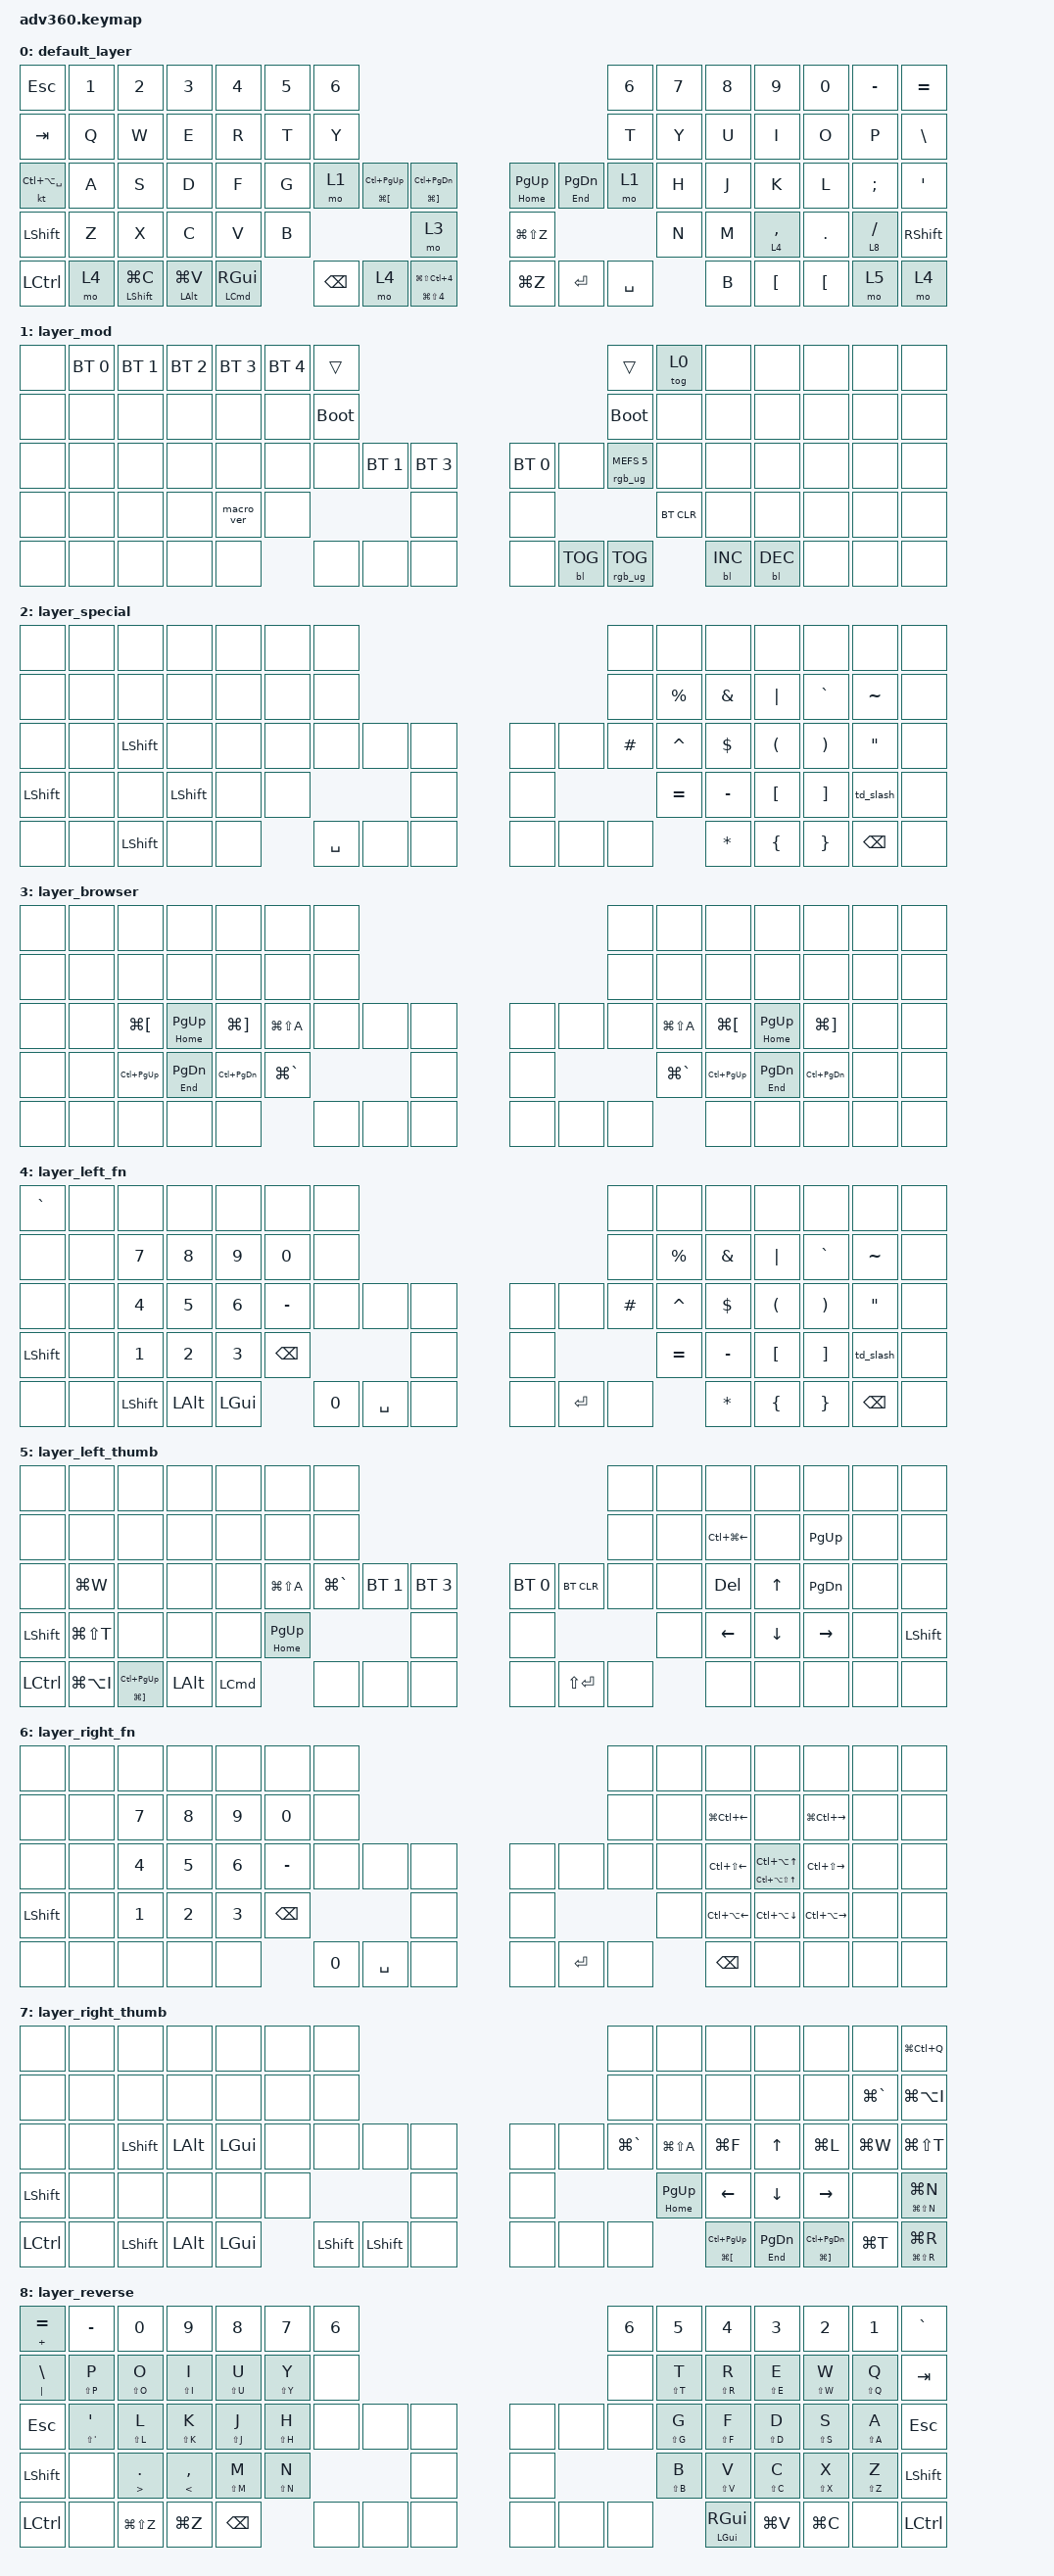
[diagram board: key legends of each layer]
/*
 * Copyright (c) 2020 The ZMK Contributors
 *
 * SPDX-License-Identifier: MIT
 */
/* THIS FILE WAS GENERATED!
 *
 * This file was generated automatically. You may or may not want to
 * edit it directly.
 */

#include <behaviors.dtsi>
#include <dt-bindings/zmk/backlight.h>
#include <dt-bindings/zmk/bt.h>
#include <dt-bindings/zmk/keys.h>
#include <dt-bindings/zmk/keys.h>
#include <dt-bindings/zmk/rgb.h>

&gresc { mods = <(MOD_LGUI|MOD_RGUI|MOD_LCTL|MOD_RCTL|MOD_LALT|MOD_RALT)>; };

&mt {
    flavor = "hold-preferred";
    tapping-term-ms = <150>;
};

&lt { tapping-term-ms = <175>; };

/ {
    behaviors {
        #include "macros.dtsi"
    #include "version.dtsi"

        hm: homerow_mods {
            compatible = "zmk,behavior-hold-tap";
            label = "HOMEROW_MODS";
            #binding-cells = <2>;
            tapping-term-ms = <175>;
            quick_tap_ms = <175>;
            flavor = "tap-preferred";
            bindings = <&kp>, <&kp>;
        };

        td_slash: td_slash {
            compatible = "zmk,behavior-tap-dance";
            label = "TD_SLASH";
            #binding-cells = <0>;
            bindings = <&kp SLASH>, <&kp BACKSLASH>, <&kp PIPE>;

            tapping-term-ms = <175>;
        };

        st: st {
            compatible = "zmk,behavior-hold-tap";
            label = "Shift Tab";
            bindings = <&kp>, <&kp>;

            #binding-cells = <2>;
            tapping-term-ms = <50>;
            flavor = "tap-preferred";
            quick-tap-ms = <45>;
        };
    };

    combos {
        compatible = "zmk,combos";

        prefix {
            bindings = <&kp LC(X)>;
            key-positions = <47 48>;
            timeout-ms = <90>;
        };

        minus {
            bindings = <&kp MINUS>;
            key-positions = <55 57>;
            timeout-ms = <90>;
        };

        shiftt {
            bindings = <&kp LS(T)>;
            key-positions = <18 19>;
            timeout-ms = <72>;
        };

        shiftr {
            bindings = <&kp LS(R)>;
            key-positions = <18 33>;
            timeout-ms = <75>;
            require-prior-idle-ms = <50>;
        };

        semi {
            bindings = <&kp SEMI>;
            key-positions = <41 43>;
            timeout-ms = <90>;
        };

        jjk {
            bindings = <&kp RIGHT_GUI>;
            key-positions = <41 42>;
            timeout-ms = <90>;
            require-prior-idle-ms = <55>;
        };

        shiftg {
            bindings = <&kp LS(G)>;
            key-positions = <33 50>;
            timeout-ms = <68>;
        };

        shifte {
            bindings = <&kp LS(E)>;
            key-positions = <4 17>;
            timeout-ms = <68>;
        };

        b {
            bindings = <&kp B>;
            key-positions = <55 56>;
            timeout-ms = <65>;
        };
    };

    keymap {
        compatible = "zmk,keymap";

        default_layer {
            bindings = <
&kp ESC            &kp N1  &kp N2                &kp N3          &kp N4              &kp N5  &kp N6                                                                                                                         &kp N6     &kp N7  &kp N8  &kp N9            &kp N0            &kp MINUS      &kp EQUAL
&kp TAB            &kp Q   &kp W                 &kp E           &kp R               &kp T   &kp Y                                                                                                                          &kp T      &kp Y   &kp U   &kp I             &kp O             &kp P          &kp BSLH
&kt LC(LA(SPACE))  &kp A   &kp S                 &kp D           &kp F               &kp G   &mo 1          &mt LG(LEFT_BRACKET) LC(PAGE_UP)  &mt LG(RIGHT_BRACKET) LC(PAGE_DOWN)      &mt HOME PAGE_UP  &mt END PAGE_DOWN  &mo 1      &kp H   &kp J   &kp K             &kp L             &kp SEMICOLON  &kp SQT
&kp LSHFT          &kp Z   &kp X                 &kp C           &kp V               &kp B                                                    &mo 3                                    &kp LG(LS(Z))                                   &kp N   &kp M   &lt 4 COMMA       &kp DOT           &lt 8 SLASH    &kp RSHFT
&kp LEFT_CONTROL   &mo 4   &mt LEFT_SHIFT LG(C)  &mt LALT LG(V)  &mt LCMD RIGHT_GUI          &kp BACKSPACE  &mo 4                             &mt LG(LS(N4)) LG(LS(LC(NUMBER_4)))      &kp LG(Z)         &kp ENTER          &kp SPACE          &kp B   &kp LEFT_BRACKET  &kp LEFT_BRACKET  &mo 5          &mo 4
            >;
        };

        layer_mod {
            bindings = <
&none  &bt BT_SEL 0  &bt BT_SEL 1  &bt BT_SEL 2  &bt BT_SEL 3  &bt BT_SEL 4  &trans                                                                 &trans                  &tog 0      &none       &none       &none  &none  &none
&none  &none         &none         &none         &none         &none         &bootloader                                                            &bootloader             &none       &none       &none       &none  &none  &none
&none  &none         &none         &none         &none         &none         &none        &bt BT_SEL 1  &bt BT_SEL 3      &bt BT_SEL 0  &none       &rgb_ug RGB_MEFS_CMD 5  &none       &none       &none       &none  &none  &none
&none  &none         &none         &none         &macro_ver    &none                                    &none             &none                                             &bt BT_CLR  &none       &none       &none  &none  &none
&none  &none         &none         &none         &none                       &none        &none         &none             &none         &bl BL_TOG  &rgb_ug RGB_TOG                     &bl BL_INC  &bl BL_DEC  &none  &none  &none
            >;
        };

        layer_special {
            bindings = <
&none           &none  &none           &none           &none  &none  &none                                      &none      &none        &none          &none                 &none                  &none              &none
&none           &none  &none           &none           &none  &none  &none                                      &none      &kp PERCENT  &kp AMPERSAND  &kp PIPE              &kp GRAVE              &kp TILDE          &none
&none           &none  &kp LEFT_SHIFT  &none           &none  &none  &none      &none  &none      &none  &none  &kp POUND  &kp CARET    &kp DOLLAR     &kp LEFT_PARENTHESIS  &kp RIGHT_PARENTHESIS  &kp DOUBLE_QUOTES  &none
&kp LEFT_SHIFT  &none  &none           &kp LEFT_SHIFT  &none  &none                    &none      &none                    &kp EQUAL    &kp MINUS      &kp LEFT_BRACKET      &kp RIGHT_BRACKET      &td_slash          &none
&none           &none  &kp LEFT_SHIFT  &none           &none         &kp SPACE  &none  &none      &none  &none  &none                   &kp ASTRK      &kp LEFT_BRACE        &kp RIGHT_BRACE        &kp BACKSPACE      &none
            >;
        };

        layer_browser {
            bindings = <
&none  &none  &none                 &none              &none                  &none          &none                                  &none  &none          &none                 &none              &none                  &none  &none
&none  &none  &none                 &none              &none                  &none          &none                                  &none  &none          &none                 &none              &none                  &none  &none
&none  &none  &kp LG(LEFT_BRACKET)  &hm HOME PAGE_UP   &kp LG(RIGHT_BRACKET)  &kp LG(LS(A))  &none  &none  &none      &none  &none  &none  &kp LG(LS(A))  &kp LG(LEFT_BRACKET)  &mt HOME PAGE_UP   &kp LG(RIGHT_BRACKET)  &none  &none
&none  &none  &kp LC(PAGE_UP)       &hm END PAGE_DOWN  &kp LC(PAGE_DOWN)      &kp LG(GRAVE)                &none      &none                &kp LG(GRAVE)  &kp LC(PAGE_UP)       &mt END PAGE_DOWN  &kp LC(PAGE_DOWN)      &none  &none
&none  &none  &none                 &none              &none                                 &none  &none  &none      &none  &none  &none                 &none                 &none              &none                  &none  &none
            >;
        };

        layer_left_fn {
            bindings = <
&kp GRAVE       &none  &none           &none         &none     &none          &none                                           &none      &none        &none         &none                 &none                  &none              &none
&none           &none  &kp N7          &kp N8        &kp N9    &kp N0         &none                                           &none      &kp PERCENT  &kp AMPS      &kp PIPE              &kp GRAVE              &kp TILDE          &none
&none           &none  &kp N4          &kp N5        &kp N6    &kp MINUS      &none   &none      &none      &none  &none      &kp POUND  &kp CARET    &kp DOLLAR    &kp LEFT_PARENTHESIS  &kp RIGHT_PARENTHESIS  &kp DOUBLE_QUOTES  &none
&kp LEFT_SHIFT  &none  &kp N1          &kp N2        &kp N3    &kp BACKSPACE                     &none      &none                        &kp EQUAL    &kp MINUS     &kp LBKT              &kp RBKT               &td_slash          &none
&none           &none  &kp LEFT_SHIFT  &kp LEFT_ALT  &kp LGUI                 &kp N0  &kp SPACE  &none      &none  &kp ENTER  &none                   &kp ASTERISK  &kp LEFT_BRACE        &kp RIGHT_BRACE        &kp BACKSPACE      &none
            >;
        };

        layer_left_thumb {
            bindings = <
&none             &none          &none                              &none         &none             &none             &none                                                                       &none  &none  &none             &none           &none          &none  &none
&none             &none          &none                              &none         &none             &none             &none                                                                       &none  &none  &kp LC(LG(LEFT))  &none           &kp PAGE_UP    &none  &none
&none             &kp LG(W)      &none                              &none         &none             &kp LG(LS(A))     &kp LG(GRAVE)  &bt BT_SEL 1  &bt BT_SEL 3      &bt BT_SEL 0  &bt BT_CLR     &none  &none  &kp DELETE        &kp UP_ARROW    &kp PAGE_DOWN  &none  &none
&kp LEFT_SHIFT    &kp LG(LS(T))  &none                              &none         &none             &hm HOME PAGE_UP                               &none             &none                               &none  &kp LEFT_ARROW    &kp DOWN_ARROW  &kp RIGHT      &none  &kp LEFT_SHIFT
&kp LEFT_CONTROL  &kp LG(LA(I))  &hm LG(RIGHT_BRACKET) LC(PAGE_UP)  &kp LEFT_ALT  &kp LEFT_COMMAND                    &none          &none         &none             &none         &kp LS(ENTER)  &none         &none             &none           &none          &none  &none
            >;
        };

        layer_right_fn {
            bindings = <
&none      &none  &none   &none   &none   &none          &none                                         &none  &none  &none             &none                                      &none              &none  &none
&none      &none  &kp N7  &kp N8  &kp N9  &kp N0         &none                                         &none  &none  &kp LG(LC(LEFT))  &none                                      &kp LG(LC(RIGHT))  &none  &none
&none      &none  &kp N4  &kp N5  &kp N6  &kp MINUS      &none   &none      &none      &none  &none    &none  &none  &kp LC(LS(LEFT))  &mt LC(LA(LS(UP_ARROW))) LC(LA(UP_ARROW))  &kp LC(LS(RIGHT))  &none  &none
&kp LSHFT  &none  &kp N1  &kp N2  &kp N3  &kp BACKSPACE                     &none      &none                  &none  &kp LC(LA(LEFT))  &kp LC(LA(DOWN))                           &kp LC(LA(RIGHT))  &none  &none
&none      &none  &none   &none   &none                  &kp N0  &kp SPACE  &none      &none  &kp RET  &none         &kp BACKSPACE     &none                                      &none              &none  &none
            >;
        };

        layer_right_thumb {
            bindings = <
&none      &none  &none      &none     &none     &none  &none                                          &none          &none             &none                             &none              &none                                &none          &kp LG(LC(Q))
&none      &none  &none      &none     &none     &none  &none                                          &none          &none             &none                             &none              &none                                &kp LG(GRAVE)  &kp LG(LA(I))
&none      &none  &kp LSHFT  &kp LALT  &kp LGUI  &none  &none      &none      &none      &none  &none  &kp LG(GRAVE)  &kp LG(LS(A))     &kp LG(F)                         &kp UP             &kp LG(L)                            &kp LG(W)      &kp LG(LS(T))
&kp LSHFT  &none  &none      &none     &none     &none                        &none      &none                        &hm HOME PAGE_UP  &kp LEFT                          &kp DOWN           &kp RIGHT                            &none          &mt LG(LS(N)) LG(N)
&kp LCTRL  &none  &kp LSHFT  &kp LALT  &kp LGUI         &kp LSHFT  &kp LSHFT  &none      &none  &none  &none                            &hm LG(LEFT_BRACKET) LC(PAGE_UP)  &hm END PAGE_DOWN  &hm LG(RIGHT_BRACKET) LC(PAGE_DOWN)  &kp LG(T)      &mt LG(LS(R)) LG(R)
            >;
        };

        layer_reverse {
            bindings = <
&hm PLUS EQUAL  &kp MINUS        &kp N0                &kp N9               &kp N8         &kp N7       &kp N6                                  &kp N6  &kp N5       &kp N4                  &kp N3       &kp N2       &kp N1       &kp GRAVE
&hm PIPE BSLH   &hm LS(P) P      &hm LS(O) O           &hm LS(I) I          &hm LS(U) U    &hm LS(Y) Y  &none                                   &none   &hm LS(T) T  &hm LS(R) R             &hm LS(E) E  &hm LS(W) W  &hm LS(Q) Q  &kp TAB
&kp ESC         &hm LS(SQT) SQT  &hm LS(L) L           &hm LS(K) K          &hm LS(J) J    &hm LS(H) H  &none   &none  &none      &none  &none  &none   &hm LS(G) G  &hm LS(F) F             &hm LS(D) D  &hm LS(S) S  &hm LS(A) A  &kp ESC
&kp LSHFT       &none            &hm GREATER_THAN DOT  &hm LESS_THAN COMMA  &hm LS(M) M    &hm LS(N) N                 &none      &none                 &hm LS(B) B  &hm LS(V) V             &hm LS(C) C  &hm LS(X) X  &hm LS(Z) Z  &kp LSHFT
&kp LCTRL       &none            &kp LG(LS(Z))         &kp LG(Z)            &kp BACKSPACE               &none   &none  &none      &none  &none  &none                &mt LEFT_GUI RIGHT_GUI  &kp LG(V)    &kp LG(C)    &none        &kp LCTRL
            >;
        };
    };
};
